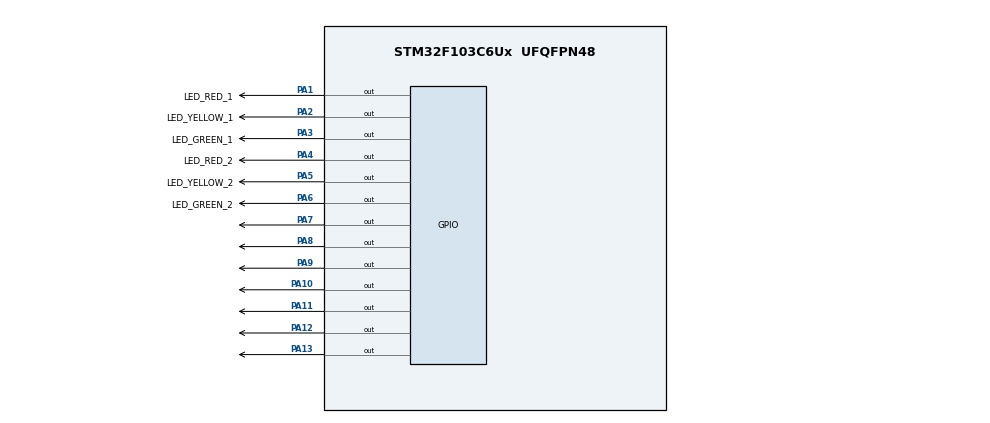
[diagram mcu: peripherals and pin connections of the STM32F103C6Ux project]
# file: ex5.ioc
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Mcu.Family=STM32F1
Mcu.Name=STM32F103C6Ux
Mcu.Package=UFQFPN48
NVIC.PriorityGroup=NVIC_PRIORITYGROUP_4
PA1.GPIO_Label=LED_RED_1
PA1.Signal=GPIO_Output
PA10.Signal=GPIO_Output
PA11.Signal=GPIO_Output
PA12.Signal=GPIO_Output
PA13.Signal=GPIO_Output
PA2.GPIO_Label=LED_YELLOW_1
PA2.Signal=GPIO_Output
PA3.GPIO_Label=LED_GREEN_1
PA3.Signal=GPIO_Output
PA4.GPIO_Label=LED_RED_2
PA4.Signal=GPIO_Output
PA5.GPIO_Label=LED_YELLOW_2
PA5.Signal=GPIO_Output
PA6.GPIO_Label=LED_GREEN_2
PA6.Signal=GPIO_Output
PA7.Signal=GPIO_Output
PA8.Signal=GPIO_Output
PA9.Signal=GPIO_Output
ProjectManager.HeapSize=0x200
ProjectManager.StackSize=0x400
ProjectManager.TargetToolchain=STM32CubeIDE
RCC.APB1Freq_Value=8000000
RCC.APB2Freq_Value=8000000
VP_SYS_VS_ND.Mode=No_Debug
board=custom

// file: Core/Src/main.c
/* USER CODE BEGIN Header */
/**
  ******************************************************************************
  * @file           : main.c
  * @brief          : Main program body
  ******************************************************************************
  * @attention
  *
  * <h2><center>&copy; Copyright (c) 2026 STMicroelectronics.
  * All rights reserved.</center></h2>
  *
  * This software component is licensed by ST under BSD 3-Clause license,
  * the "License"; You may not use this file except in compliance with the
  * License. You may obtain a copy of the License at:
  *                        opensource.org/licenses/BSD-3-Clause
  *
  ******************************************************************************
  */
/* USER CODE END Header */
#include "main.h"

void SystemClock_Config(void);
static void MX_GPIO_Init(void);
/* USER CODE BEGIN PFP */
void display7SEG(int num);

/* USER CODE END PFP */

int main(void)
{

  /* MCU Configuration--------------------------------------------------------*/

  /* Reset of all peripherals, Initializes the Flash interface and the Systick. */
  HAL_Init();

  /* Configure the system clock */
  SystemClock_Config();

  /* Initialize all configured peripherals */
  MX_GPIO_Init();
  /* USER CODE BEGIN 2 */
  HAL_GPIO_WritePin(GPIOA, LED_RED_1_Pin | LED_YELLOW_1_Pin | LED_GREEN_1_Pin |
                    LED_RED_2_Pin | LED_YELLOW_2_Pin | LED_GREEN_2_Pin, GPIO_PIN_SET);

  /* USER CODE END 2 */

  /* Infinite loop */
  /* USER CODE BEGIN WHILE */
  while (1)
  {
	// GREEN - RED (3s)
	HAL_GPIO_WritePin(GPIOA, LED_RED_1_Pin | LED_YELLOW_1_Pin, GPIO_PIN_SET);
	HAL_GPIO_WritePin(GPIOA, LED_GREEN_1_Pin, GPIO_PIN_RESET);
	HAL_GPIO_WritePin(GPIOA, LED_YELLOW_2_Pin | LED_GREEN_2_Pin, GPIO_PIN_SET);
	HAL_GPIO_WritePin(GPIOA, LED_RED_2_Pin, GPIO_PIN_RESET);

	for(int i = 3; i > 0; i--) {
		display7SEG(i);
		HAL_Delay(1000);
	}

	// YELLOW - RED (2s)
	HAL_GPIO_WritePin(GPIOA, LED_GREEN_1_Pin, GPIO_PIN_SET);
	HAL_GPIO_WritePin(GPIOA, LED_YELLOW_1_Pin, GPIO_PIN_RESET);

	for(int i = 2; i > 0; i--) {
		display7SEG(i);
		HAL_Delay(1000);
	}

	// RED - GREEN (3s)
	HAL_GPIO_WritePin(GPIOA, LED_YELLOW_1_Pin, GPIO_PIN_SET);
	HAL_GPIO_WritePin(GPIOA, LED_RED_1_Pin, GPIO_PIN_RESET);
	HAL_GPIO_WritePin(GPIOA, LED_RED_2_Pin, GPIO_PIN_SET);
	HAL_GPIO_WritePin(GPIOA, LED_GREEN_2_Pin, GPIO_PIN_RESET);

	for(int i = 3; i > 0; i--) {
		display7SEG(i);
		HAL_Delay(1000);
	}

	// RED - YELLOW (2s)
	HAL_GPIO_WritePin(GPIOA, LED_GREEN_2_Pin, GPIO_PIN_SET);
	HAL_GPIO_WritePin(GPIOA, LED_YELLOW_2_Pin, GPIO_PIN_RESET);

	for(int i = 2; i > 0; i--) {
		display7SEG(i);
		HAL_Delay(1000);
	}
    /* USER CODE END WHILE */

  }
}

void SystemClock_Config(void)
{
  RCC_OscInitTypeDef RCC_OscInitStruct = {0};
  RCC_ClkInitTypeDef RCC_ClkInitStruct = {0};

  /** Initializes the RCC Oscillators according to the specified parameters
  * in the RCC_OscInitTypeDef structure.
  */
  RCC_OscInitStruct.OscillatorType = RCC_OSCILLATORTYPE_HSI;
  RCC_OscInitStruct.HSIState = RCC_HSI_ON;
  RCC_OscInitStruct.HSICalibrationValue = RCC_HSICALIBRATION_DEFAULT;
  RCC_OscInitStruct.PLL.PLLState = RCC_PLL_NONE;
  if (HAL_RCC_OscConfig(&RCC_OscInitStruct) != HAL_OK)
  {
    Error_Handler();
  }
  /** Initializes the CPU, AHB and APB buses clocks
  */
  RCC_ClkInitStruct.ClockType = RCC_CLOCKTYPE_HCLK|RCC_CLOCKTYPE_SYSCLK
                              |RCC_CLOCKTYPE_PCLK1|RCC_CLOCKTYPE_PCLK2;
  RCC_ClkInitStruct.SYSCLKSource = RCC_SYSCLKSOURCE_HSI;
  RCC_ClkInitStruct.AHBCLKDivider = RCC_SYSCLK_DIV1;
  RCC_ClkInitStruct.APB1CLKDivider = RCC_HCLK_DIV1;
  RCC_ClkInitStruct.APB2CLKDivider = RCC_HCLK_DIV1;

  if (HAL_RCC_ClockConfig(&RCC_ClkInitStruct, FLASH_LATENCY_0) != HAL_OK)
  {
    Error_Handler();
  }
}

static void MX_GPIO_Init(void)
{
  GPIO_InitTypeDef GPIO_InitStruct = {0};

  /* GPIO Ports Clock Enable */
  __HAL_RCC_GPIOA_CLK_ENABLE();

  /*Configure GPIO pin Output Level */
  HAL_GPIO_WritePin(GPIOA, LED_RED_1_Pin|LED_YELLOW_1_Pin|LED_GREEN_1_Pin|LED_RED_2_Pin
                          |LED_YELLOW_2_Pin|LED_GREEN_2_Pin|GPIO_PIN_7|GPIO_PIN_8
                          |GPIO_PIN_9|GPIO_PIN_10|GPIO_PIN_11|GPIO_PIN_12
                          |GPIO_PIN_13, GPIO_PIN_RESET);

  /*Configure GPIO pins : LED_RED_1_Pin LED_YELLOW_1_Pin LED_GREEN_1_Pin LED_RED_2_Pin
                           LED_YELLOW_2_Pin LED_GREEN_2_Pin PA7 PA8
                           PA9 PA10 PA11 PA12
                           PA13 */
  GPIO_InitStruct.Pin = LED_RED_1_Pin|LED_YELLOW_1_Pin|LED_GREEN_1_Pin|LED_RED_2_Pin
                          |LED_YELLOW_2_Pin|LED_GREEN_2_Pin|GPIO_PIN_7|GPIO_PIN_8
                          |GPIO_PIN_9|GPIO_PIN_10|GPIO_PIN_11|GPIO_PIN_12
                          |GPIO_PIN_13;
  GPIO_InitStruct.Mode = GPIO_MODE_OUTPUT_PP;
  GPIO_InitStruct.Pull = GPIO_NOPULL;
  GPIO_InitStruct.Speed = GPIO_SPEED_FREQ_LOW;
  HAL_GPIO_Init(GPIOA, &GPIO_InitStruct);

}

/* USER CODE BEGIN 4 */
void display7SEG(int num) {
    // Mã Hex cho LED 7 đoạn Anode chung (mức 0 là sáng, 1 là tắt)
    uint8_t seg_data[10] = {0xC0, 0xF9, 0xA4, 0xB0, 0x99, 0x92, 0x82, 0xF8, 0x80, 0x90};

    // Bảo vệ logic: Nếu giá trị truyền vào ngoài vùng 0-9 thì thoát hàm
    if (num < 0 || num > 9) return;

    uint8_t data = seg_data[num];

    // Dịch bit để xuất tín hiệu ra chân tương ứng trên Port A
    HAL_GPIO_WritePin(GPIOA, GPIO_PIN_13, (data >> 0) & 1); // a
    HAL_GPIO_WritePin(GPIOA, GPIO_PIN_12, (data >> 1) & 1); // b
    HAL_GPIO_WritePin(GPIOA, GPIO_PIN_11,  (data >> 2) & 1); // c
    HAL_GPIO_WritePin(GPIOA, GPIO_PIN_10,  (data >> 3) & 1); // d
    HAL_GPIO_WritePin(GPIOA, GPIO_PIN_9,  (data >> 4) & 1); // e
    HAL_GPIO_WritePin(GPIOA, GPIO_PIN_8,  (data >> 5) & 1); // f
    HAL_GPIO_WritePin(GPIOA, GPIO_PIN_7,  (data >> 6) & 1); // g
}

/* USER CODE END 4 */

void Error_Handler(void)
{
  __disable_irq();
  while (1)
  {
  }
}

/************************ (C) COPYRIGHT STMicroelectronics *****END OF FILE****/
